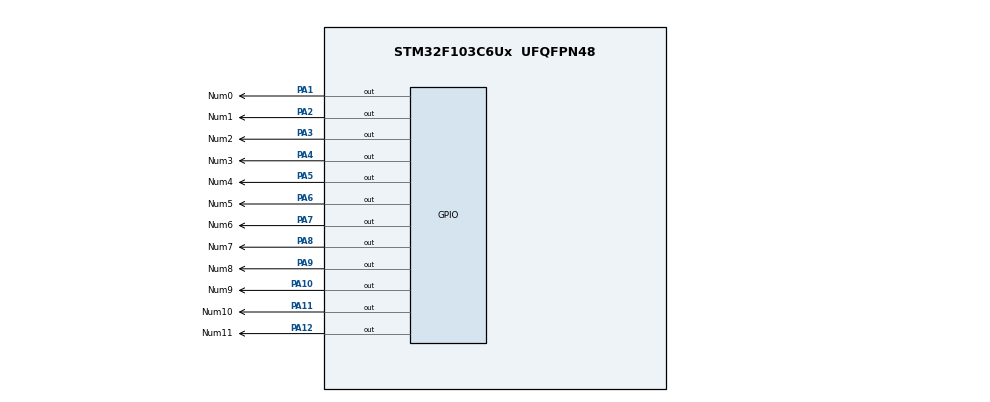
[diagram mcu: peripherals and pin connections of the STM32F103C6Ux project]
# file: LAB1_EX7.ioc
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Mcu.Family=STM32F1
Mcu.Name=STM32F103C6Ux
Mcu.Package=UFQFPN48
NVIC.PriorityGroup=NVIC_PRIORITYGROUP_4
PA1.GPIO_Label=Num0
PA1.Signal=GPIO_Output
PA10.GPIO_Label=Num9
PA10.Signal=GPIO_Output
PA11.GPIO_Label=Num10
PA11.Signal=GPIO_Output
PA12.GPIO_Label=Num11
PA12.Signal=GPIO_Output
PA2.GPIO_Label=Num1
PA2.Signal=GPIO_Output
PA3.GPIO_Label=Num2
PA3.Signal=GPIO_Output
PA4.GPIO_Label=Num3
PA4.Signal=GPIO_Output
PA5.GPIO_Label=Num4
PA5.Signal=GPIO_Output
PA6.GPIO_Label=Num5
PA6.Signal=GPIO_Output
PA7.GPIO_Label=Num6
PA7.Signal=GPIO_Output
PA8.GPIO_Label=Num7
PA8.Signal=GPIO_Output
PA9.GPIO_Label=Num8
PA9.Signal=GPIO_Output
ProjectManager.HeapSize=0x200
ProjectManager.StackSize=0x400
ProjectManager.TargetToolchain=STM32CubeIDE
RCC.APB1Freq_Value=8000000
RCC.APB2Freq_Value=8000000
VP_SYS_VS_ND.Mode=No_Debug
board=custom

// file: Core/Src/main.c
/* USER CODE BEGIN Header */
/**
  ******************************************************************************
  * @file           : main.c
  * @brief          : Main program body
  ******************************************************************************
  * @attention
  *
  * <h2><center>&copy; Copyright (c) 2025 STMicroelectronics.
  * All rights reserved.</center></h2>
  *
  * This software component is licensed by ST under BSD 3-Clause license,
  * the "License"; You may not use this file except in compliance with the
  * License. You may obtain a copy of the License at:
  *                        opensource.org/licenses/BSD-3-Clause
  *
  ******************************************************************************
  */
/* USER CODE END Header */
#include "main.h"

void SystemClock_Config(void);
static void MX_GPIO_Init(void);

/* USER CODE BEGIN 0 */
void display(int num) {
    switch (num) {
        case 0:  HAL_GPIO_WritePin(Num0_GPIO_Port, Num0_Pin, GPIO_PIN_SET); break;
        case 1:  HAL_GPIO_WritePin(Num1_GPIO_Port, Num1_Pin, GPIO_PIN_SET); break;
        case 2:  HAL_GPIO_WritePin(Num2_GPIO_Port, Num2_Pin, GPIO_PIN_SET); break;
        case 3:  HAL_GPIO_WritePin(Num3_GPIO_Port, Num3_Pin, GPIO_PIN_SET); break;
        case 4:  HAL_GPIO_WritePin(Num4_GPIO_Port, Num4_Pin, GPIO_PIN_SET); break;
        case 5:  HAL_GPIO_WritePin(Num5_GPIO_Port, Num5_Pin, GPIO_PIN_SET); break;
        case 6:  HAL_GPIO_WritePin(Num6_GPIO_Port, Num6_Pin, GPIO_PIN_SET); break;
        case 7:  HAL_GPIO_WritePin(Num7_GPIO_Port, Num7_Pin, GPIO_PIN_SET); break;
        case 8:  HAL_GPIO_WritePin(Num8_GPIO_Port, Num8_Pin, GPIO_PIN_SET); break;
        case 9:  HAL_GPIO_WritePin(Num9_GPIO_Port, Num9_Pin, GPIO_PIN_SET); break;
        case 10: HAL_GPIO_WritePin(Num10_GPIO_Port, Num10_Pin, GPIO_PIN_SET); break;
        case 11: HAL_GPIO_WritePin(Num11_GPIO_Port, Num11_Pin, GPIO_PIN_SET); break;
        case 12: HAL_GPIO_WritePin(Num0_GPIO_Port, Num0_Pin, GPIO_PIN_SET); break;
        default: break;
    }
}

void cleardisplay(int num) {
    switch (num) {
        case 0:  HAL_GPIO_WritePin(Num0_GPIO_Port, Num0_Pin, GPIO_PIN_RESET); break;
        case 1:  HAL_GPIO_WritePin(Num1_GPIO_Port, Num1_Pin, GPIO_PIN_RESET); break;
        case 2:  HAL_GPIO_WritePin(Num2_GPIO_Port, Num2_Pin, GPIO_PIN_RESET); break;
        case 3:  HAL_GPIO_WritePin(Num3_GPIO_Port, Num3_Pin, GPIO_PIN_RESET); break;
        case 4:  HAL_GPIO_WritePin(Num4_GPIO_Port, Num4_Pin, GPIO_PIN_RESET); break;
        case 5:  HAL_GPIO_WritePin(Num5_GPIO_Port, Num5_Pin, GPIO_PIN_RESET); break;
        case 6:  HAL_GPIO_WritePin(Num6_GPIO_Port, Num6_Pin, GPIO_PIN_RESET); break;
        case 7:  HAL_GPIO_WritePin(Num7_GPIO_Port, Num7_Pin, GPIO_PIN_RESET); break;
        case 8:  HAL_GPIO_WritePin(Num8_GPIO_Port, Num8_Pin, GPIO_PIN_RESET); break;
        case 9:  HAL_GPIO_WritePin(Num9_GPIO_Port, Num9_Pin, GPIO_PIN_RESET); break;
        case 10: HAL_GPIO_WritePin(Num10_GPIO_Port, Num10_Pin, GPIO_PIN_RESET); break;
        case 11: HAL_GPIO_WritePin(Num11_GPIO_Port, Num11_Pin, GPIO_PIN_RESET); break;
        case 12: HAL_GPIO_WritePin(Num0_GPIO_Port, Num0_Pin, GPIO_PIN_RESET); break;
        default: break;
    }
}

void displayall(void) {
    HAL_GPIO_WritePin(Num0_GPIO_Port, Num0_Pin, GPIO_PIN_SET);
    HAL_GPIO_WritePin(Num1_GPIO_Port, Num1_Pin, GPIO_PIN_SET);
    HAL_GPIO_WritePin(Num2_GPIO_Port, Num2_Pin, GPIO_PIN_SET);
    HAL_GPIO_WritePin(Num3_GPIO_Port, Num3_Pin, GPIO_PIN_SET);
    HAL_GPIO_WritePin(Num4_GPIO_Port, Num4_Pin, GPIO_PIN_SET);
    HAL_GPIO_WritePin(Num5_GPIO_Port, Num5_Pin, GPIO_PIN_SET);
    HAL_GPIO_WritePin(Num6_GPIO_Port, Num6_Pin, GPIO_PIN_SET);
    HAL_GPIO_WritePin(Num7_GPIO_Port, Num7_Pin, GPIO_PIN_SET);
    HAL_GPIO_WritePin(Num8_GPIO_Port, Num8_Pin, GPIO_PIN_SET);
    HAL_GPIO_WritePin(Num9_GPIO_Port, Num9_Pin, GPIO_PIN_SET);
    HAL_GPIO_WritePin(Num10_GPIO_Port, Num10_Pin, GPIO_PIN_SET);
    HAL_GPIO_WritePin(Num11_GPIO_Port, Num11_Pin, GPIO_PIN_SET);
}

void clearallClock(void) {
    HAL_GPIO_WritePin(Num0_GPIO_Port, Num0_Pin, GPIO_PIN_RESET);
    HAL_GPIO_WritePin(Num1_GPIO_Port, Num1_Pin, GPIO_PIN_RESET);
    HAL_GPIO_WritePin(Num2_GPIO_Port, Num2_Pin, GPIO_PIN_RESET);
    HAL_GPIO_WritePin(Num3_GPIO_Port, Num3_Pin, GPIO_PIN_RESET);
    HAL_GPIO_WritePin(Num4_GPIO_Port, Num4_Pin, GPIO_PIN_RESET);
    HAL_GPIO_WritePin(Num5_GPIO_Port, Num5_Pin, GPIO_PIN_RESET);
    HAL_GPIO_WritePin(Num6_GPIO_Port, Num6_Pin, GPIO_PIN_RESET);
    HAL_GPIO_WritePin(Num7_GPIO_Port, Num7_Pin, GPIO_PIN_RESET);
    HAL_GPIO_WritePin(Num8_GPIO_Port, Num8_Pin, GPIO_PIN_RESET);
    HAL_GPIO_WritePin(Num9_GPIO_Port, Num9_Pin, GPIO_PIN_RESET);
    HAL_GPIO_WritePin(Num10_GPIO_Port, Num10_Pin, GPIO_PIN_RESET);
    HAL_GPIO_WritePin(Num11_GPIO_Port, Num11_Pin, GPIO_PIN_RESET);
}

void setNumberOnClock(int num){
	display(num);
}

void clearNumberOnClock(int num)
{
	cleardisplay(num);
}
/* USER CODE END 0 */

int main(void)
{
  /* MCU Configuration--------------------------------------------------------*/
  HAL_Init();
  SystemClock_Config();
  MX_GPIO_Init();

  /* Infinite loop */
  int state = 0;
  /* USER CODE BEGIN WHILE */
  while (1)
  {
      if(state == 0) {
          setNumberOnClock(5);
          state = 1;
      } else {
          clearNumberOnClock(5);
          state = 0;
      }

      HAL_Delay(1000);  // chỉ dùng 1 delay
  }
  /* USER CODE END WHILE */
}
/* <-- ĐÃ THÊM DẤU ĐÓNG } KẾT THÚC main() */

void SystemClock_Config(void)
{
  RCC_OscInitTypeDef RCC_OscInitStruct = {0};
  RCC_ClkInitTypeDef RCC_ClkInitStruct = {0};

  RCC_OscInitStruct.OscillatorType = RCC_OSCILLATORTYPE_HSI;
  RCC_OscInitStruct.HSIState = RCC_HSI_ON;
  RCC_OscInitStruct.HSICalibrationValue = RCC_HSICALIBRATION_DEFAULT;
  RCC_OscInitStruct.PLL.PLLState = RCC_PLL_NONE;
  if (HAL_RCC_OscConfig(&RCC_OscInitStruct) != HAL_OK)
  {
    Error_Handler();
  }

  RCC_ClkInitStruct.ClockType = RCC_CLOCKTYPE_HCLK|RCC_CLOCKTYPE_SYSCLK
                              |RCC_CLOCKTYPE_PCLK1|RCC_CLOCKTYPE_PCLK2;
  RCC_ClkInitStruct.SYSCLKSource = RCC_SYSCLKSOURCE_HSI;
  RCC_ClkInitStruct.AHBCLKDivider = RCC_SYSCLK_DIV1;
  RCC_ClkInitStruct.APB1CLKDivider = RCC_HCLK_DIV1;
  RCC_ClkInitStruct.APB2CLKDivider = RCC_HCLK_DIV1;

  if (HAL_RCC_ClockConfig(&RCC_ClkInitStruct, FLASH_LATENCY_0) != HAL_OK)
  {
    Error_Handler();
  }
}

static void MX_GPIO_Init(void)
{
  GPIO_InitTypeDef GPIO_InitStruct = {0};
  __HAL_RCC_GPIOA_CLK_ENABLE();

  HAL_GPIO_WritePin(GPIOA, Num0_Pin|Num1_Pin|Num2_Pin|Num3_Pin
                          |Num4_Pin|Num5_Pin|Num6_Pin|Num7_Pin
                          |Num8_Pin|Num9_Pin|Num10_Pin|Num11_Pin, GPIO_PIN_RESET);

  GPIO_InitStruct.Pin = Num0_Pin|Num1_Pin|Num2_Pin|Num3_Pin
                          |Num4_Pin|Num5_Pin|Num6_Pin|Num7_Pin
                          |Num8_Pin|Num9_Pin|Num10_Pin|Num11_Pin;
  GPIO_InitStruct.Mode = GPIO_MODE_OUTPUT_PP;
  GPIO_InitStruct.Pull = GPIO_NOPULL;
  GPIO_InitStruct.Speed = GPIO_SPEED_FREQ_LOW;
  HAL_GPIO_Init(GPIOA, &GPIO_InitStruct);
}

void Error_Handler(void)
{
  __disable_irq();
  while (1)
  {
  }
}
